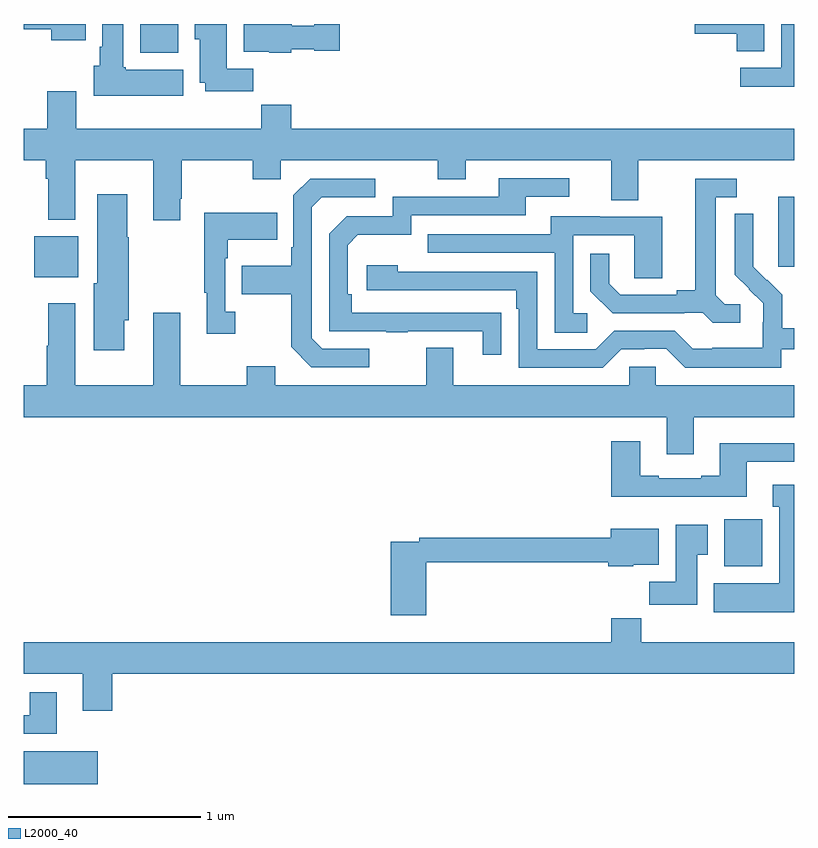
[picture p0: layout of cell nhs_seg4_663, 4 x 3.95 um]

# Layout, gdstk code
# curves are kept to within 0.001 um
import gdstk
lib = gdstk.Library(unit=1e-6, precision=1e-09)
def R(c, l, rs):  # rectangles x0, y0, x1, y1
    for r in rs: c.add(gdstk.rectangle(r[:2], r[2:], *l))
def P(c, l, *ps):  # polygons
    for p in ps: c.add(gdstk.Polygon(p, *l))
L2000_40 = (2000, 40)

nhs_seg4_663 = lib.new_cell('nhs_seg4_663')
R(nhs_seg4_663, L2000_40, [(145,754.955,145.384,755.125), (148.637,756.086,148.834,756.328), (145.055,757.586,145.282,757.798), (148.916,757.641,149,758.002), (145.604,758.75,145.801,758.9)])
P(nhs_seg4_663, L2000_40, [(146.388,758.768),(146.508,758.768),(146.508,758.761),(146.641,758.761),(146.641,758.9),(146.508,758.9),(146.508,758.89),(146.392,758.89),(146.392,758.9),(146.141,758.9),(146.141,758.756),(146.274,758.756),(146.274,758.75),(146.388,758.75)],
  [(145.828,758.662),(145.53,758.662),(145.53,758.676),(145.516,758.676),(145.516,758.9),(145.409,758.9),(145.409,758.782),(145.394,758.782),(145.394,758.682),(145.364,758.682),(145.364,758.528),(145.828,758.528)],
  [(146.192,758.668),(146.053,758.668),(146.053,758.9),(145.889,758.9),(145.889,758.82),(145.913,758.82),(145.913,758.594),(145.943,758.594),(145.943,758.55),(146.192,758.55)],
  [(149,758.9),(148.932,758.9),(148.932,758.673),(148.719,758.673),(148.719,758.575),(149,758.575)],
  [(145.321,758.9),(145,758.9),(145,758.872),(145.142,758.872),(145.142,758.816),(145.321,758.816)],
  [(148.843,758.9),(148.482,758.9),(148.482,758.849),(148.7,758.849),(148.7,758.758),(148.843,758.758)],
  [(146.39,758.48),(146.233,758.48),(146.233,758.356),(145.273,758.356),(145.273,758.551),(145.121,758.551),(145.121,758.356),(145,758.356),(145,758.192),(145.115,758.192),(145.115,758.096),(145.127,758.096),(145.127,757.883),(145.267,757.883),(145.267,758.192),(145.673,758.192),(145.673,757.881),(145.813,757.881),(145.813,757.993),(145.821,757.993),(145.821,758.192),(146.188,758.192),(146.188,758.093),(146.334,758.093),(146.334,758.192),(147.148,758.192),(147.148,758.093),(147.295,758.093),(147.295,758.192),(148.049,758.192),(148.049,757.984),(148.189,757.984),(148.189,758.192),(149,758.192),(149,758.356),(146.39,758.356)],
  [(147.479,757.4),(146.702,757.401),(146.702,757.498),(146.682,757.498),(146.682,757.752),(146.735,757.805),(147.012,757.805),(147.012,757.908),(147.607,757.908),(147.607,758.004),(147.832,758.004),(147.832,758.1),(147.467,758.1),(147.467,758.004),(146.916,758.004),(146.916,757.902),(146.676,757.902),(146.586,757.812),(146.586,757.305),(146.881,757.305),(146.881,757.3),(146.993,757.3),(146.993,757.305),(147.383,757.305),(147.383,757.182),(147.479,757.182)],
  [(148.72,757.446),(148.638,757.446),(148.591,757.493),(148.591,758.001),(148.702,758.001),(148.702,758.097),(148.487,758.097),(148.487,757.517),(148.391,757.517),(148.391,757.494),(148.096,757.494),(148.039,757.551),(148.039,757.708),(147.942,757.708),(147.942,757.514),(148.058,757.398),(148.43,757.398),(148.43,757.401),(148.524,757.401),(148.576,757.349),(148.72,757.349)],
  [(146.794,757.215),(146.55,757.215),(146.496,757.269),(146.496,757.95),(146.547,758.001),(146.824,758.001),(146.824,758.097),(146.487,758.097),(146.4,758.01),(146.4,757.741),(146.388,757.741),(146.388,757.645),(146.131,757.645),(146.131,757.498),(146.388,757.498),(146.388,757.225),(146.493,757.119),(146.794,757.119)],
  [(145.522,757.362),(145.545,757.362),(145.545,757.793),(145.537,757.793),(145.537,758.017),(145.382,758.017),(145.382,757.554),(145.364,757.554),(145.364,757.206),(145.522,757.206)],
  [(146.098,757.406),(146.046,757.406),(146.046,757.685),(146.059,757.685),(146.059,757.781),(146.315,757.781),(146.315,757.921),(145.938,757.921),(145.938,757.505),(145.949,757.505),(145.949,757.293),(146.098,757.293)],
  [(148.932,757.212),(149,757.212),(149,757.321),(148.937,757.321),(148.937,757.495),(148.86,757.572),(148.857,757.569),(148.787,757.64),(148.788,757.916),(148.692,757.916),(148.692,757.598),(148.838,757.45),(148.838,757.353),(148.836,757.353),(148.836,757.219),(148.573,757.219),(148.573,757.215),(148.473,757.215),(148.38,757.308),(148.065,757.308),(147.969,757.212),(147.666,757.212),(147.666,757.614),(146.942,757.614),(146.942,757.648),(146.781,757.648),(146.781,757.518),(147.557,757.518),(147.557,757.421),(147.57,757.421),(147.57,757.116),(148.005,757.116),(148.101,757.212),(148.22,757.212),(148.22,757.215),(148.335,757.215),(148.435,757.115),(148.932,757.115)],
  [(147.925,757.398),(147.852,757.398),(147.852,757.803),(148.17,757.803),(148.17,757.579),(148.315,757.579),(148.315,757.899),(147.991,757.899),(147.991,757.903),(147.737,757.903),(147.737,757.809),(147.097,757.809),(147.097,757.713),(147.756,757.713),(147.756,757.297),(147.925,757.297)],
  [(148.477,756.86),(149,756.86),(149,757.024),(148.281,757.024),(148.281,757.122),(148.143,757.122),(148.143,757.024),(147.229,757.024),(147.229,757.219),(147.089,757.219),(147.089,757.024),(146.305,757.024),(146.305,757.123),(146.158,757.123),(146.158,757.024),(145.813,757.024),(145.813,757.402),(145.673,757.402),(145.673,757.024),(145.267,757.024),(145.267,757.45),(145.127,757.45),(145.127,757.229),(145.12,757.229),(145.12,757.024),(145,757.024),(145,756.86),(148.337,756.86),(148.337,756.666),(148.477,756.666)],
  [(148.753,756.627),(149,756.627),(149,756.724),(148.613,756.724),(148.613,756.556),(148.517,756.556),(148.517,756.543),(148.297,756.543),(148.297,756.556),(148.201,756.556),(148.201,756.733),(148.049,756.733),(148.049,756.446),(148.753,756.446)],
  [(149,756.508),(148.889,756.508),(148.889,756.395),(148.922,756.395),(148.922,755.998),(148.583,755.998),(148.583,755.846),(149,755.846)],
  [(148.495,756.145),(148.552,756.145),(148.552,756.301),(148.385,756.301),(148.385,756.004),(148.246,756.004),(148.246,755.886),(148.495,755.886)],
  [(147.089,756.105),(148.034,756.105),(148.034,756.086),(148.164,756.086),(148.164,756.092),(148.297,756.092),(148.297,756.28),(148.046,756.28),(148.046,756.233),(147.052,756.233),(147.052,756.213),(146.906,756.213),(146.906,755.832),(147.089,755.832)],
  [(145.46,755.528),(149,755.528),(149,755.692),(148.205,755.692),(148.205,755.816),(148.049,755.816),(148.049,755.692),(145,755.692),(145,755.528),(145.307,755.528),(145.307,755.334),(145.46,755.334)],
  [(145.171,755.431),(145.031,755.431),(145.031,755.313),(145,755.313),(145,755.217),(145.171,755.217)])

lib.write_gds('nhs_seg4_663.gds')
